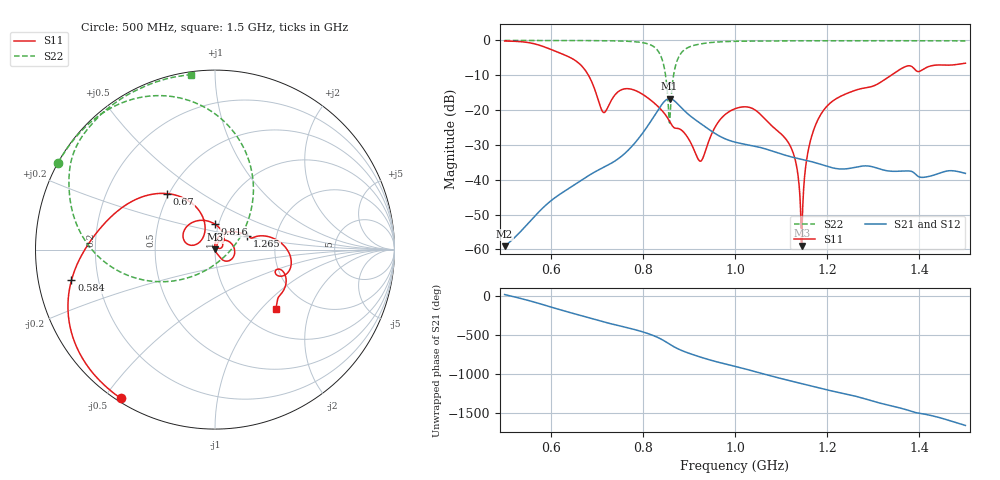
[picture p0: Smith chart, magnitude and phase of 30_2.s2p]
! TOUCHSTONE file generated by CST MICROWAVE STUDIO
! Date and time: Wed Oct 28 19:39:15 2020
! Project name: Scenario_1_Circular_Tissue_out_of_Line_v2.cst
! Parameters = {dy1=155.7; L_HA=400; MT=2.54; Rad_Dielectric=30; Rad_Lower=7.3; Rad_Upper=30; a_HA=580; a_WG=246; b_HA=500; b_WG=121; c_HA=0; c_WG=187; d_feed=85; dx1=346; h_feed=15; h_lower=18; h_upper=40}
! Header version: 2018
! Port assignment regex: !\s*Touchstone port\s*([0-9]+)\s*=\s*(CST MWS port|CST DS port)\s*([0-9]+|Zmin|Zmax)\s*\(\"(.*)\"\)(\s*mode\s*([0-9]+))?.*
! Touchstone port assignment:
! Touchstone port 1 = CST MWS port 1 ("")
! Touchstone port 2 = CST MWS port 2 ("")
# GHz S DB R 50
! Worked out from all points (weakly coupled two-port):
!   1003 points, 500 MHz to 1.5 GHz, reference 50 ohm
!   highest |S21| = -16.73 dB at 858 MHz (marker M1); lowest = -59.1 dB at 500 MHz (marker M2)
!   lowest |S11| = -59.0 dB at 1.145 GHz (marker M3), VSWR 1.00, Z = 50.1 + j0.0894 ohm
!   |S11| at or under -10 dB: 681.9 MHz to 1.339 GHz (656.7 MHz wide, 65 % of centre)
!   |S22| runs from -23.7 to 0.0 dB; largest |S21 - S12| = 1.1e-05
!   S11 on the Smith chart (normalised r, x): 500 MHz: 0.01, -0.55; 584 MHz: 0.10, -0.10; 670 MHz: 0.49, +0.37; 816 MHz: 0.96, +0.28; 1.265 GHz: 1.42, +0.23; 1.5 GHz: 1.42, -1.20
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0.5  -0.17 -122.3  -59.09 19.4  -59.09 19.4  -0.01 151.1
0.584  -1.75 -168.0  -47.98 -111.1  -47.98 -111.1  -0.02 145.3
0.667  -7.28 133.6  -40.13 107.9  -40.13 107.9  -0.04 138.4
0.67  -7.72 130.6  -39.87 103.0  -39.87 103.0  -0.04 138.1
0.715  -20.70 142.1  -36.44 29.0  -36.44 29.0  -0.08 133.0
0.758  -13.97 151.2  -32.79 -33.4  -32.79 -33.4  -0.19 125.9
0.816  -17.03 89.6  -23.48 -130.4  -23.48 -130.4  -1.24 103.0
0.834  -19.11 70.2  -19.78 -174.4  -19.78 -174.4  -3.22 83.5
0.858  -23.21 45.1  -16.73 104.5  -16.73 104.5  -23.72 -56.2
0.878  -25.34 39.2  -18.55 39.3  -18.55 39.3  -4.72 -170.2
0.925  -34.69 39.8  -23.83 -61.2  -23.83 -61.2  -1.01 156.1
0.962  -23.77 53.2  -27.15 -124.3  -27.15 -124.3  -0.45 146.7
1  -19.62 9.6  -29.21 -180.0  -29.21 -180.0  -0.26 140.3
1.114  -28.99 -59.9  -33.16 3.3  -33.16 3.3  -0.11 128.5
1.132  -35.04 -65.7  -33.77 -23.0  -33.77 -23.0  -0.11 127.0
1.145  -58.99 52.6  -34.17 -42.0  -34.17 -42.0  -0.10 126.0
1.155  -34.66 94.0  -34.46 -56.8  -34.46 -56.8  -0.10 125.2
1.167  -27.24 85.6  -34.85 -74.7  -34.85 -74.7  -0.10 124.2
1.201  -18.68 56.4  -36.22 -123.1  -36.22 -123.1  -0.09 121.6
1.265  -14.16 23.6  -36.32 152.5  -36.32 152.5  -0.09 116.7
1.334  -10.41 14.1  -37.51 41.8  -37.51 41.8  -0.08 111.5
1.5  -6.54 -44.2  -38.19 143.4  -38.19 143.4  -0.14 97.9
